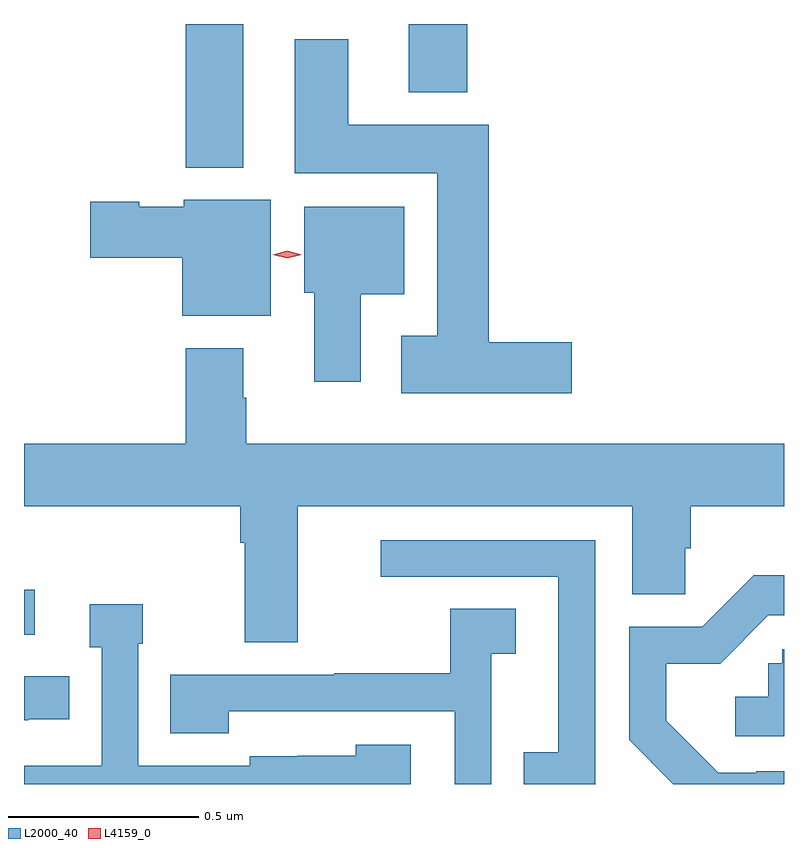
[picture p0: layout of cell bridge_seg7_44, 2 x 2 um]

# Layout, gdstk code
import gdstk
lib = gdstk.Library(unit=1e-6, precision=1e-09)
def R(c, l, rs):  # rectangles x0, y0, x1, y1
    for r in rs: c.add(gdstk.rectangle(r[:2], r[2:], *l))
def P(c, l, *ps):  # polygons
    for p in ps: c.add(gdstk.Polygon(p, *l))
L2000_40 = (2000, 40)
L4159_0 = (4159, 0)

bridge_seg7_44 = lib.new_cell('bridge_seg7_44')
R(bridge_seg7_44, L2000_40, [(987.006,1034.91,987.034,1035.028), (987.431,1036.139,987.583,1036.517), (988.019,1036.337,988.172,1036.517)])
P(bridge_seg7_44, L2000_40, [(988.447,1035.68),(988.229,1035.68),(988.229,1036.252),(987.859,1036.252),(987.859,1036.477),(987.719,1036.477),(987.719,1036.124),(988.094,1036.124),(988.094,1035.697),(987.999,1035.697),(987.999,1035.545),(988.447,1035.545)],
  [(987.655,1036.054),(987.426,1036.054),(987.426,1036.036),(987.309,1036.036),(987.309,1036.049),(987.18,1036.049),(987.18,1035.902),(987.422,1035.902),(987.422,1035.749),(987.655,1035.749)],
  [(987.892,1035.806),(988.006,1035.806),(988.006,1036.036),(987.743,1036.036),(987.743,1035.81),(987.77,1035.81),(987.77,1035.576),(987.892,1035.576)],
  [(987.727,1035.248),(988.607,1035.248),(988.607,1035.016),(988.746,1035.016),(988.746,1035.138),(988.76,1035.138),(988.76,1035.248),(989.006,1035.248),(989.006,1035.412),(987.591,1035.412),(987.591,1035.533),(987.583,1035.533),(987.583,1035.664),(987.431,1035.664),(987.431,1035.412),(987.006,1035.412),(987.006,1035.248),(987.575,1035.248),(987.575,1035.152),(987.587,1035.152),(987.587,1034.89),(987.727,1034.89)],
  [(988.509,1034.518),(988.509,1035.159),(987.945,1035.159),(987.945,1035.063),(988.412,1035.063),(988.412,1034.601),(988.321,1034.601),(988.321,1034.517),(988.51,1034.517)],
  [(989.006,1034.55),(988.933,1034.55),(988.933,1034.547),(988.833,1034.547),(988.696,1034.684),(988.696,1034.834),(988.838,1034.834),(988.965,1034.961),(989.006,1034.961),(989.006,1035.067),(988.927,1035.067),(988.791,1034.931),(988.599,1034.931),(988.599,1034.633),(988.715,1034.517),(989.006,1034.517)],
  [(988.024,1034.62),(987.879,1034.62),(987.879,1034.592),(987.727,1034.592),(987.727,1034.59),(987.6,1034.59),(987.6,1034.565),(987.306,1034.565),(987.306,1034.886),(987.319,1034.886),(987.319,1034.99),(987.179,1034.99),(987.179,1034.877),(987.21,1034.877),(987.21,1034.565),(987.006,1034.565),(987.006,1034.517),(988.024,1034.517)],
  [(988.236,1034.86),(988.3,1034.86),(988.3,1034.978),(988.128,1034.978),(988.128,1034.808),(987.823,1034.808),(987.823,1034.805),(987.391,1034.805),(987.391,1034.65),(987.545,1034.65),(987.545,1034.709),(988.14,1034.709),(988.14,1034.517),(988.236,1034.517)],
  [(989.006,1034.871),(989.001,1034.871),(989.001,1034.835),(988.965,1034.835),(988.965,1034.746),(988.878,1034.746),(988.878,1034.643),(989.006,1034.643)],
  [(987.017,1034.687),(987.125,1034.687),(987.125,1034.8),(987.006,1034.8),(987.006,1034.685),(987.017,1034.685)])
P(bridge_seg7_44, L4159_0, [(987.699,1035.9),(987.661,1035.91),(987.661,1035.91),(987.661,1035.91),(987.699,1035.92),(987.737,1035.91),(987.737,1035.91),(987.737,1035.91)])

lib.write_gds('bridge_seg7_44.gds')
